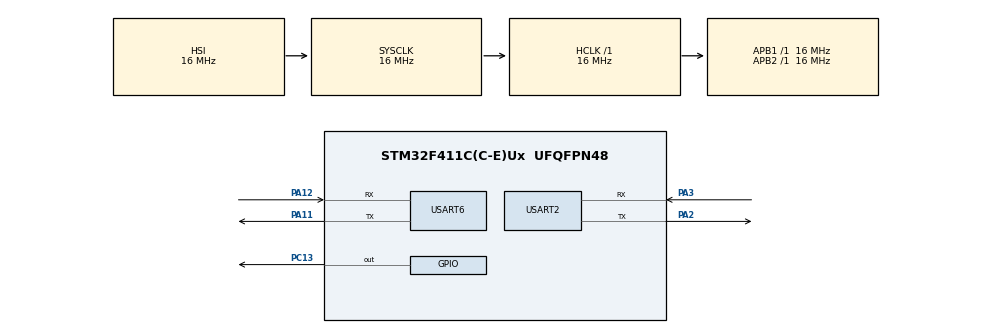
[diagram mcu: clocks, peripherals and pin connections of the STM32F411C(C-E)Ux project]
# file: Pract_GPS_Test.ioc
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Mcu.Family=STM32F4
Mcu.Name=STM32F411C(C-E)Ux
Mcu.Package=UFQFPN48
NVIC.PriorityGroup=NVIC_PRIORITYGROUP_4
NVIC.USART2_IRQn=true\:0\:0\:false\:false\:true\:true\:true\:true
NVIC.USART6_IRQn=true\:0\:0\:false\:false\:true\:true\:true\:true
PA11.Mode=Asynchronous
PA11.Signal=USART6_TX
PA12.Mode=Asynchronous
PA12.Signal=USART6_RX
PA2.Mode=Asynchronous
PA2.Signal=USART2_TX
PA3.Mode=Asynchronous
PA3.Signal=USART2_RX
PC13-ANTI_TAMP.Signal=GPIO_Output
ProjectManager.HeapSize=0x200
ProjectManager.StackSize=0x400
ProjectManager.TargetToolchain=STM32CubeIDE
RCC.AHBFreq_Value=16000000
RCC.APB1Freq_Value=16000000
RCC.APB2Freq_Value=16000000
RCC.CortexFreq_Value=16000000
RCC.HSE_VALUE=25000000
RCC.HSI_VALUE=16000000
RCC.LSE_VALUE=32768
RCC.SYSCLKFreq_VALUE=16000000
RCC.VCOOutputFreq_Value=192000000
USART2.VirtualMode=VM_ASYNC
USART6.VirtualMode=VM_ASYNC
board=custom

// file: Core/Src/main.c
/* USER CODE BEGIN Header */
/**
  ******************************************************************************
  * @file           : main.c
  * @brief          : Main program body
  ******************************************************************************
  * @attention
  *
  * Copyright (c) 2025 STMicroelectronics.
  * All rights reserved.
  *
  * This software is licensed under terms that can be found in the LICENSE file
  * in the root directory of this software component.
  * If no LICENSE file comes with this software, it is provided AS-IS.
  *
  ******************************************************************************
  */
/* USER CODE END Header */
#include "main.h"

/* USER CODE BEGIN Includes */
#include "gps.h"
#include "gsm.h"
#include "core_cm4.h"

/* USER CODE END Includes */

/* USER CODE BEGIN PTD */
static void buttoninit(void);
static void errorhandler(void);
/* USER CODE END PTD */

UART_HandleTypeDef huart2;
UART_HandleTypeDef huart6;

void SystemClock_Config(void);
static void MX_GPIO_Init(void);
static void MX_USART6_UART_Init(void);
static void MX_USART2_UART_Init(void);

/* USER CODE BEGIN 0 */
#define RESET_MAGIC 0xA5A55A5A
__attribute__((section(".noinit")))
uint32_t reset_magic;

__attribute__((section(".noinit")))
uint32_t reset_counter;

/* USER CODE END 0 */

int main(void)
{

  /* MCU Configuration--------------------------------------------------------*/

  /* Reset of all peripherals, Initializes the Flash interface and the Systick. */
  HAL_Init();

  /* USER CODE BEGIN Init */
  if (reset_magic != RESET_MAGIC)
  {

      reset_magic   = RESET_MAGIC;
      reset_counter = 0;
  }

  /* USER CODE END Init */

  /* Configure the system clock */
  SystemClock_Config();

  /* Initialize all configured peripherals */
  MX_GPIO_Init();
  MX_USART6_UART_Init();
  MX_USART2_UART_Init();
  /* USER CODE BEGIN 2 */
  MX_GPIO_Init();
  MX_USART6_UART_Init();
  MX_USART2_UART_Init();

  GspInit();
  Gps_Status s = GpsGetStatus();
  if(s != Active){ errorhandler();}
  HAL_Delay(1000);

  GsmInit();
  Gsm_Status_def k = GsmGetStatus();
  if(k != GsmActive){ errorhandler();}

  Sim_Status_def y =GsmGetSimStatus();
  if(y != SimReady){ errorhandler();}

  char phno[] = "7017586549";
  char data[256];

  /* USER CODE END 2 */

  /* Infinite loop */
  while (1)
  {

    /* USER CODE BEGIN 3 */
	   uint32_t t = GpsGetTime();
	   HAL_Delay(1000);
	   uint32_t lat = GpsGetLatitude();
	   HAL_Delay(1000);
	   uint32_t longi = GpsGetLongitute();
	   HAL_Delay(1000);
	   uint32_t speed = GpsGetSpeed();
	   HAL_Delay(1000);
	   snprintf(data, sizeof(data),
	       "{"
	       "\"vehicleNumber\":\"STM32-TEST-001\","
	       "\"speed\":%lu,"
	       "\"latitude\":%lu,"
	       "\"longitude\":%lu,"
	       "\"locationName\":\"Testing Outside Zone (OK)\""
	       "}",\
	       speed, lat, longi);
	   GsmSendSMS(phno, data);

  }
  /* USER CODE END 3 */
}

void SystemClock_Config(void)
{
  RCC_OscInitTypeDef RCC_OscInitStruct = {0};
  RCC_ClkInitTypeDef RCC_ClkInitStruct = {0};

  /** Configure the main internal regulator output voltage
  */
  __HAL_RCC_PWR_CLK_ENABLE();
  __HAL_PWR_VOLTAGESCALING_CONFIG(PWR_REGULATOR_VOLTAGE_SCALE1);

  /** Initializes the RCC Oscillators according to the specified parameters
  * in the RCC_OscInitTypeDef structure.
  */
  RCC_OscInitStruct.OscillatorType = RCC_OSCILLATORTYPE_HSI;
  RCC_OscInitStruct.HSIState = RCC_HSI_ON;
  RCC_OscInitStruct.HSICalibrationValue = RCC_HSICALIBRATION_DEFAULT;
  RCC_OscInitStruct.PLL.PLLState = RCC_PLL_NONE;
  if (HAL_RCC_OscConfig(&RCC_OscInitStruct) != HAL_OK)
  {
    Error_Handler();
  }

  /** Initializes the CPU, AHB and APB buses clocks
  */
  RCC_ClkInitStruct.ClockType = RCC_CLOCKTYPE_HCLK|RCC_CLOCKTYPE_SYSCLK
                              |RCC_CLOCKTYPE_PCLK1|RCC_CLOCKTYPE_PCLK2;
  RCC_ClkInitStruct.SYSCLKSource = RCC_SYSCLKSOURCE_HSI;
  RCC_ClkInitStruct.AHBCLKDivider = RCC_SYSCLK_DIV1;
  RCC_ClkInitStruct.APB1CLKDivider = RCC_HCLK_DIV1;
  RCC_ClkInitStruct.APB2CLKDivider = RCC_HCLK_DIV1;

  if (HAL_RCC_ClockConfig(&RCC_ClkInitStruct, FLASH_LATENCY_0) != HAL_OK)
  {
    Error_Handler();
  }
}

static void MX_USART2_UART_Init(void)
{

  huart2.Instance = USART2;
  huart2.Init.BaudRate = 115200;
  huart2.Init.WordLength = UART_WORDLENGTH_8B;
  huart2.Init.StopBits = UART_STOPBITS_1;
  huart2.Init.Parity = UART_PARITY_NONE;
  huart2.Init.Mode = UART_MODE_TX_RX;
  huart2.Init.HwFlowCtl = UART_HWCONTROL_NONE;
  huart2.Init.OverSampling = UART_OVERSAMPLING_16;
  if (HAL_UART_Init(&huart2) != HAL_OK)
  {
    Error_Handler();
  }

}

static void MX_USART6_UART_Init(void)
{

  huart6.Instance = USART6;
  huart6.Init.BaudRate = 115200;
  huart6.Init.WordLength = UART_WORDLENGTH_8B;
  huart6.Init.StopBits = UART_STOPBITS_1;
  huart6.Init.Parity = UART_PARITY_NONE;
  huart6.Init.Mode = UART_MODE_TX_RX;
  huart6.Init.HwFlowCtl = UART_HWCONTROL_NONE;
  huart6.Init.OverSampling = UART_OVERSAMPLING_16;
  if (HAL_UART_Init(&huart6) != HAL_OK)
  {
    Error_Handler();
  }

}

static void MX_GPIO_Init(void)
{
  GPIO_InitTypeDef GPIO_InitStruct = {0};

  /* GPIO Ports Clock Enable */
  __HAL_RCC_GPIOC_CLK_ENABLE();
  __HAL_RCC_GPIOA_CLK_ENABLE();

  /*Configure GPIO pin Output Level */
  HAL_GPIO_WritePin(GPIOC, GPIO_PIN_13, GPIO_PIN_RESET);

  /*Configure GPIO pin : PC13 */
  GPIO_InitStruct.Pin = GPIO_PIN_13;
  GPIO_InitStruct.Mode = GPIO_MODE_OUTPUT_PP;
  GPIO_InitStruct.Pull = GPIO_NOPULL;
  GPIO_InitStruct.Speed = GPIO_SPEED_FREQ_LOW;
  HAL_GPIO_Init(GPIOC, &GPIO_InitStruct);

}

/* USER CODE BEGIN 4 */
static void buttoninit(void)
{
    __HAL_RCC_GPIOA_CLK_ENABLE();

    GPIO_InitTypeDef GPIO_InitStruct = {0};

    GPIO_InitStruct.Pin = GPIO_PIN_0;
    GPIO_InitStruct.Mode = GPIO_MODE_INPUT;
    GPIO_InitStruct.Pull = GPIO_PULLUP;
    HAL_GPIO_Init(GPIOA, &GPIO_InitStruct);
}

static void errorhandler(void){
	if(reset_counter >= 5){
		while(1)
		{
			// error led
			HAL_GPIO_WritePin(GPIOC, GPIO_PIN_13, GPIO_PIN_SET);
			HAL_Delay(100);
			HAL_GPIO_WritePin(GPIOC, GPIO_PIN_13, GPIO_PIN_RESET);
			HAL_Delay(100);

		}
	}
	reset_counter++;
	NVIC_SystemReset();

}

void HAL_UART_RxCpltCallback(UART_HandleTypeDef *huart)
{
	if(huart->Instance == USART6)
	{
		GpsCallbackHandler();
	}
	else if(huart->Instance == USART2)
	{
		GsmCallbackHandler();
	}
}

/* USER CODE END 4 */

void Error_Handler(void)
{
  __disable_irq();
  while (1)
  {
  }
}
